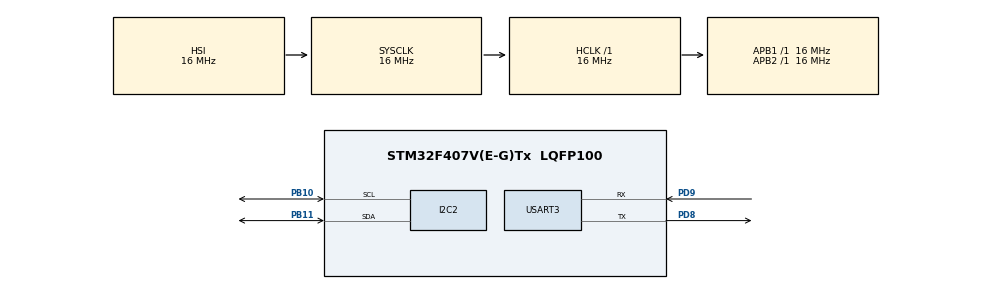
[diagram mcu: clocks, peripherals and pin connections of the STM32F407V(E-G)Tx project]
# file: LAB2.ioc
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Mcu.Family=STM32F4
Mcu.Name=STM32F407V(E-G)Tx
Mcu.Package=LQFP100
NVIC.PriorityGroup=NVIC_PRIORITYGROUP_4
PB10.Mode=I2C
PB10.Signal=I2C2_SCL
PB11.Mode=I2C
PB11.Signal=I2C2_SDA
PD8.Mode=Asynchronous
PD8.Signal=USART3_TX
PD9.Mode=Asynchronous
PD9.Signal=USART3_RX
ProjectManager.HeapSize=0x200
ProjectManager.StackSize=0x400
ProjectManager.TargetToolchain=STM32CubeIDE
RCC.AHBFreq_Value=16000000
RCC.APB1Freq_Value=16000000
RCC.APB2Freq_Value=16000000
RCC.CortexFreq_Value=16000000
RCC.HSE_VALUE=25000000
RCC.HSI_VALUE=16000000
RCC.LSE_VALUE=32768
RCC.SYSCLKFreq_VALUE=16000000
RCC.VCOOutputFreq_Value=192000000
USART3.VirtualMode=VM_ASYNC
board=custom

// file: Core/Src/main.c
/* USER CODE BEGIN Header */
/**
  ******************************************************************************
  * @file           : main.c
  * @brief          : Main program body
  ******************************************************************************
  * @attention
  *
  * Copyright (c) 2023 STMicroelectronics.
  * All rights reserved.
  *
  * This software is licensed under terms that can be found in the LICENSE file
  * in the root directory of this software component.
  * If no LICENSE file comes with this software, it is provided AS-IS.
  *
  ******************************************************************************
  */
/* USER CODE END Header */
#include "main.h"

/* USER CODE BEGIN Includes */
#include "MPU6050.h"
#include "math.h"
/* USER CODE END Includes */

I2C_HandleTypeDef hi2c2;
UART_HandleTypeDef huart3;
IMU_Data imu;
/* USER CODE BEGIN PV */
uint8_t IMU_ADDR = 0x68 << 1;
/* USER CODE END PV */

void SystemClock_Config(void);
static void MX_GPIO_Init(void);
static void MX_I2C2_Init(void);
static void MX_USART3_UART_Init(void);

int main(void)
{
  /* USER CODE BEGIN 1 */
	char sbuf[10];

	uint32_t millisOld, millisNow; // time value
	float dt;// time elapse
	millisNow = HAL_GetTick(); // get the current time
	dt = (millisNow - millisOld)*0.001; // time elapsed in millisecond
	millisOld = millisNow; // store the current time for next round
  /* USER CODE END 1 */

  /* MCU Configuration--------------------------------------------------------*/

  /* Reset of all peripherals, Initializes the Flash interface and the Systick. */
  HAL_Init();

  /* Configure the system clock */
  SystemClock_Config();

  /* Initialize all configured peripherals */
  MX_GPIO_Init();
  MX_I2C2_Init();
  MX_USART3_UART_Init();
  /* USER CODE BEGIN 2 */
  // Initialize IMU
  uint8_t status = IMU_Initialise(&imu, &hi2c2, &huart3);
  /* USER CODE END 2 */

  /* Infinite loop */
  /* USER CODE BEGIN WHILE */
  while (1)
  {
	  // ACCELEROMETER Row and Pitch Data Reading
	  IMU_AccelRead(&imu);

	  float pitchAcc, rollAcc;
	  // Calculate the pitch angle using accelerometer data (X and Z axes)
	  pitchAcc = atan2(imu.acc[0], imu.acc[2]) * (180/3.14);
	  // Calculate the roll angle using accelerometer data (Y and Z axes)
	  rollAcc  = atan2(imu.acc[1], imu.acc[2]) * (180/3.14);

	  // Create a string with the pitch angle value for display
	  // Store output of at least 5 wide including 2dp into sbuf
	  sprintf(sbuf, "%5.2f, ", pitchAcc);
	  // Transmit the pitch angle via UART
	  HAL_UART_Transmit(&huart3, sbuf, 8, HAL_MAX_DELAY);

	  // Create a string with the roll angle value for display
	  sprintf(sbuf, "%5.2f, ", rollAcc);
	  // Transmit the roll angle via UART
	  HAL_UART_Transmit(&huart3, sbuf, 8, HAL_MAX_DELAY);
	  //Function sends 8 bytes of data in array 'sbuf' through UART3.

    /* USER CODE END WHILE */

  }
}

void SystemClock_Config(void)
{
  RCC_OscInitTypeDef RCC_OscInitStruct = {0};
  RCC_ClkInitTypeDef RCC_ClkInitStruct = {0};

  /** Configure the main internal regulator output voltage
  */
  __HAL_RCC_PWR_CLK_ENABLE();
  __HAL_PWR_VOLTAGESCALING_CONFIG(PWR_REGULATOR_VOLTAGE_SCALE1);

  /** Initializes the RCC Oscillators according to the specified parameters
  * in the RCC_OscInitTypeDef structure.
  */
  RCC_OscInitStruct.OscillatorType = RCC_OSCILLATORTYPE_HSI;
  RCC_OscInitStruct.HSIState = RCC_HSI_ON;
  RCC_OscInitStruct.HSICalibrationValue = RCC_HSICALIBRATION_DEFAULT;
  RCC_OscInitStruct.PLL.PLLState = RCC_PLL_NONE;
  if (HAL_RCC_OscConfig(&RCC_OscInitStruct) != HAL_OK)
  {
    Error_Handler();
  }

  /** Initializes the CPU, AHB and APB buses clocks
  */
  RCC_ClkInitStruct.ClockType = RCC_CLOCKTYPE_HCLK|RCC_CLOCKTYPE_SYSCLK
                              |RCC_CLOCKTYPE_PCLK1|RCC_CLOCKTYPE_PCLK2;
  RCC_ClkInitStruct.SYSCLKSource = RCC_SYSCLKSOURCE_HSI;
  RCC_ClkInitStruct.AHBCLKDivider = RCC_SYSCLK_DIV1;
  RCC_ClkInitStruct.APB1CLKDivider = RCC_HCLK_DIV1;
  RCC_ClkInitStruct.APB2CLKDivider = RCC_HCLK_DIV1;

  if (HAL_RCC_ClockConfig(&RCC_ClkInitStruct, FLASH_LATENCY_0) != HAL_OK)
  {
    Error_Handler();
  }
}

static void MX_I2C2_Init(void)
{

  hi2c2.Instance = I2C2;
  hi2c2.Init.ClockSpeed = 100000;
  hi2c2.Init.DutyCycle = I2C_DUTYCYCLE_2;
  hi2c2.Init.OwnAddress1 = 0;
  hi2c2.Init.AddressingMode = I2C_ADDRESSINGMODE_7BIT;
  hi2c2.Init.DualAddressMode = I2C_DUALADDRESS_DISABLE;
  hi2c2.Init.OwnAddress2 = 0;
  hi2c2.Init.GeneralCallMode = I2C_GENERALCALL_DISABLE;
  hi2c2.Init.NoStretchMode = I2C_NOSTRETCH_DISABLE;
  if (HAL_I2C_Init(&hi2c2) != HAL_OK)
  {
    Error_Handler();
  }

}

static void MX_USART3_UART_Init(void)
{

  huart3.Instance = USART3;
  huart3.Init.BaudRate = 115200;
  huart3.Init.WordLength = UART_WORDLENGTH_8B;
  huart3.Init.StopBits = UART_STOPBITS_1;
  huart3.Init.Parity = UART_PARITY_NONE;
  huart3.Init.Mode = UART_MODE_TX_RX;
  huart3.Init.HwFlowCtl = UART_HWCONTROL_NONE;
  huart3.Init.OverSampling = UART_OVERSAMPLING_16;
  if (HAL_UART_Init(&huart3) != HAL_OK)
  {
    Error_Handler();
  }

}

static void MX_GPIO_Init(void)
{

  /* GPIO Ports Clock Enable */
  __HAL_RCC_GPIOB_CLK_ENABLE();
  __HAL_RCC_GPIOD_CLK_ENABLE();

}

void Error_Handler(void)
{
  __disable_irq();
  while (1)
  {
  }
}
